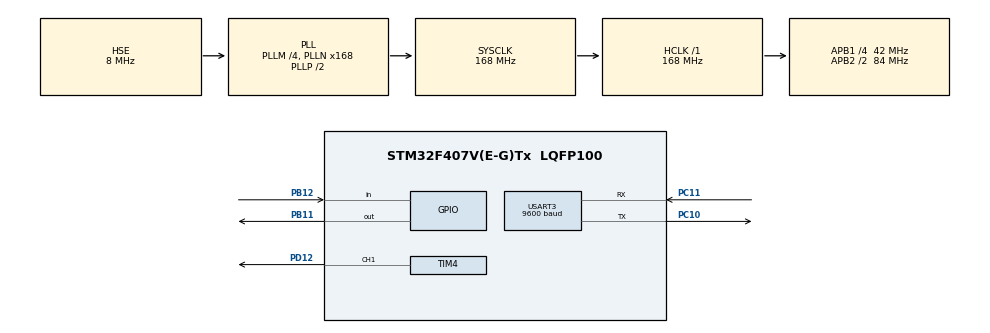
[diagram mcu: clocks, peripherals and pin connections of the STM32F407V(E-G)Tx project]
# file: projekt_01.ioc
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Mcu.Family=STM32F4
Mcu.Name=STM32F407V(E-G)Tx
Mcu.Package=LQFP100
NVIC.PriorityGroup=NVIC_PRIORITYGROUP_4
NVIC.TIM4_IRQn=true\:0\:0\:false\:false\:true\:true
NVIC.USART3_IRQn=true\:0\:0\:false\:false\:true\:true
PB11.GPIO_PuPd=GPIO_NOPULL
PB11.Signal=GPIO_Output
PB12.GPIO_PuPd=GPIO_PULLDOWN
PB12.Signal=GPIO_Input
PC10.Mode=Asynchronous
PC10.Signal=USART3_TX
PC11.Mode=Asynchronous
PC11.Signal=USART3_RX
PD12.Signal=S_TIM4_CH1
PH0-OSC_IN.Mode=HSE-External-Oscillator
PH0-OSC_IN.Signal=RCC_OSC_IN
PH1-OSC_OUT.Mode=HSE-External-Oscillator
PH1-OSC_OUT.Signal=RCC_OSC_OUT
ProjectManager.HeapSize=0x200
ProjectManager.StackSize=0x400
ProjectManager.TargetToolchain=SW4STM32
RCC.48MHZClocksFreq_Value=84000000
RCC.AHBFreq_Value=168000000
RCC.APB1CLKDivider=RCC_HCLK_DIV4
RCC.APB1Freq_Value=42000000
RCC.APB1TimFreq_Value=84000000
RCC.APB2CLKDivider=RCC_HCLK_DIV2
RCC.APB2Freq_Value=84000000
RCC.APB2TimFreq_Value=168000000
RCC.CortexFreq_Value=168000000
RCC.HCLKFreq_Value=168000000
RCC.HSE_VALUE=8000000
RCC.HSI_VALUE=16000000
RCC.LSE_VALUE=32768
RCC.PLLM=4
RCC.PLLN=168
RCC.PLLSourceVirtual=RCC_PLLSOURCE_HSE
RCC.SYSCLKFreq_VALUE=168000000
RCC.SYSCLKSource=RCC_SYSCLKSOURCE_PLLCLK
RCC.VCOOutputFreq_Value=336000000
SH.S_TIM4_CH1.0=TIM4_CH1,PWM Generation1 CH1
TIM4.Channel-PWM\ Generation1\ CH1=TIM_CHANNEL_1
TIM4.Period=999
TIM4.Prescaler=83
USART3.BaudRate=9600
USART3.VirtualMode=VM_ASYNC
VP_TIM4_VS_ClockSourceINT.Mode=Internal
board=custom

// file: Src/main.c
/**
  ******************************************************************************
  * @file           : main.c
  * @brief          : Main program body
  ******************************************************************************
  ** This notice applies to any and all portions of this file
  * that are not between comment pairs USER CODE BEGIN and
  * USER CODE END. Other portions of this file, whether
  * inserted by the user or by software development tools
  * are owned by their respective copyright owners.
  *
  * COPYRIGHT(c) 2019 STMicroelectronics
  *
  * Redistribution and use in source and binary forms, with or without modification,
  * are permitted provided that the following conditions are met:
  *   1. Redistributions of source code must retain the above copyright notice,
  *      this list of conditions and the following disclaimer.
  *   2. Redistributions in binary form must reproduce the above copyright notice,
  *      this list of conditions and the following disclaimer in the documentation
  *      and/or other materials provided with the distribution.
  *   3. Neither the name of STMicroelectronics nor the names of its contributors
  *      may be used to endorse or promote products derived from this software
  *      without specific prior written permission.
  *
  * THIS SOFTWARE IS PROVIDED BY THE COPYRIGHT HOLDERS AND CONTRIBUTORS "AS IS"
  * AND ANY EXPRESS OR IMPLIED WARRANTIES, INCLUDING, BUT NOT LIMITED TO, THE
  * IMPLIED WARRANTIES OF MERCHANTABILITY AND FITNESS FOR A PARTICULAR PURPOSE ARE
  * DISCLAIMED. IN NO EVENT SHALL THE COPYRIGHT HOLDER OR CONTRIBUTORS BE LIABLE
  * FOR ANY DIRECT, INDIRECT, INCIDENTAL, SPECIAL, EXEMPLARY, OR CONSEQUENTIAL
  * DAMAGES (INCLUDING, BUT NOT LIMITED TO, PROCUREMENT OF SUBSTITUTE GOODS OR
  * SERVICES; LOSS OF USE, DATA, OR PROFITS; OR BUSINESS INTERRUPTION) HOWEVER
  * CAUSED AND ON ANY THEORY OF LIABILITY, WHETHER IN CONTRACT, STRICT LIABILITY,
  * OR TORT (INCLUDING NEGLIGENCE OR OTHERWISE) ARISING IN ANY WAY OUT OF THE USE
  * OF THIS SOFTWARE, EVEN IF ADVISED OF THE POSSIBILITY OF SUCH DAMAGE.
  *
  ******************************************************************************
  */
#include "main.h"
#include "stm32f4xx_hal.h"

TIM_HandleTypeDef htim4;

UART_HandleTypeDef huart3;

/* USER CODE BEGIN PV */
/* Private variables ---------------------------------------------------------*/
uint8_t receiveUART[1];
uint16_t sizeReceiveUART = 1;
int on = -1;
uint8_t x;
int value =0, flaga =0;
/* USER CODE END PV */

void SystemClock_Config(void);
static void MX_GPIO_Init(void);
static void MX_USART3_UART_Init(void);
static void MX_TIM4_Init(void);
void HAL_TIM_MspPostInit(TIM_HandleTypeDef *htim);

/* USER CODE BEGIN PFP */
/* Private function prototypes -----------------------------------------------*/
void HAL_UART_RxCpltCallback(UART_HandleTypeDef *huart) {
	if(huart->Instance == USART3){

		x = receiveUART[0];

		if(x == 'O'){
			on = 0;
		}

		else if(x == 'F'){
			on = 1;

		}
		else if(x == 'R'){
			on=2;
		}
		else if(x == 'Z'){
			on=3;
		}
		HAL_UART_Receive_IT(&huart3, receiveUART, sizeReceiveUART);

	}
}

void HAL_TIM_PeriodElapsedCallback(TIM_HandleTypeDef *htim) {
	if (htim->Instance == TIM4) {

		if (value <= 0) {
			flaga = 1;
		}

		if (value >= 1000) {
			flaga = 0;
		}

		switch (flaga) {
		case 0:
			value--;
			break;
		case 1:
			value++;
			break;
		}
		TIM4->CCR1 = value;
	}

}
/* USER CODE END PFP */

int main(void)
{

  /* MCU Configuration----------------------------------------------------------*/

  /* Reset of all peripherals, Initializes the Flash interface and the Systick. */
  HAL_Init();

  /* Configure the system clock */
  SystemClock_Config();

  /* Initialize all configured peripherals */
  MX_GPIO_Init();
  MX_USART3_UART_Init();
  MX_TIM4_Init();
  /* USER CODE BEGIN 2 */
  HAL_UART_Receive_IT(&huart3, receiveUART, sizeReceiveUART);
	HAL_TIM_Base_Start_IT(&htim4);
	HAL_TIM_PWM_Start(&htim4, TIM_CHANNEL_1);
  /* USER CODE END 2 */

  /* Infinite loop */
  /* USER CODE BEGIN WHILE */
  while (1)
  {
	  //HAL_GPIO_WritePin(GPIOB, GPIO_PIN_11, GPIO_PIN_SET);
	  switch(on){
	  case 0:
		  HAL_GPIO_WritePin(GPIOB, GPIO_PIN_11, GPIO_PIN_RESET);
		  break;
	  case 1:
		  HAL_GPIO_WritePin(GPIOB, GPIO_PIN_11, GPIO_PIN_SET);
		  break;
	  case 2:
	  {
		  int odp = HAL_GPIO_ReadPin(GPIOB, GPIO_PIN_12);

		  	  switch(odp){
		  	  case 0:{
		  		  HAL_GPIO_WritePin(GPIOB, GPIO_PIN_11, GPIO_PIN_SET);

		  	  }
		  	  break;
		  	  case 1:{
		  	      HAL_GPIO_WritePin(GPIOB, GPIO_PIN_11, GPIO_PIN_RESET);

		  	  }
		  	  break;
		  	  }
	  }
	  break;
	  case 3:
		  HAL_GPIO_WritePin(GPIOB, GPIO_PIN_12, 0);
	  }

	  /*
	  if(HAL_GPIO_ReadPin(GPIOB, GPIO_PIN_12)==GPIO_PIN_SET){
  	  HAL_GPIO_WritePin(GPIOB, GPIO_PIN_11, GPIO_PIN_SET);
  	  HAL_Delay(100);
	  }
	  if(HAL_GPIO_ReadPin(GPIOB, GPIO_PIN_12)== GPIO_PIN_RESET){
      HAL_GPIO_WritePin(GPIOB, GPIO_PIN_11, GPIO_PIN_RESET);
 	  HAL_Delay(100);
	  }
*/

  /* USER CODE END WHILE */

  }

}

void SystemClock_Config(void)
{

  RCC_OscInitTypeDef RCC_OscInitStruct;
  RCC_ClkInitTypeDef RCC_ClkInitStruct;

    /**Configure the main internal regulator output voltage
    */
  __HAL_RCC_PWR_CLK_ENABLE();

  __HAL_PWR_VOLTAGESCALING_CONFIG(PWR_REGULATOR_VOLTAGE_SCALE1);

    /**Initializes the CPU, AHB and APB busses clocks
    */
  RCC_OscInitStruct.OscillatorType = RCC_OSCILLATORTYPE_HSE;
  RCC_OscInitStruct.HSEState = RCC_HSE_ON;
  RCC_OscInitStruct.PLL.PLLState = RCC_PLL_ON;
  RCC_OscInitStruct.PLL.PLLSource = RCC_PLLSOURCE_HSE;
  RCC_OscInitStruct.PLL.PLLM = 4;
  RCC_OscInitStruct.PLL.PLLN = 168;
  RCC_OscInitStruct.PLL.PLLP = RCC_PLLP_DIV2;
  RCC_OscInitStruct.PLL.PLLQ = 4;
  if (HAL_RCC_OscConfig(&RCC_OscInitStruct) != HAL_OK)
  {
    _Error_Handler(__FILE__, __LINE__);
  }

    /**Initializes the CPU, AHB and APB busses clocks
    */
  RCC_ClkInitStruct.ClockType = RCC_CLOCKTYPE_HCLK|RCC_CLOCKTYPE_SYSCLK
                              |RCC_CLOCKTYPE_PCLK1|RCC_CLOCKTYPE_PCLK2;
  RCC_ClkInitStruct.SYSCLKSource = RCC_SYSCLKSOURCE_PLLCLK;
  RCC_ClkInitStruct.AHBCLKDivider = RCC_SYSCLK_DIV1;
  RCC_ClkInitStruct.APB1CLKDivider = RCC_HCLK_DIV4;
  RCC_ClkInitStruct.APB2CLKDivider = RCC_HCLK_DIV2;

  if (HAL_RCC_ClockConfig(&RCC_ClkInitStruct, FLASH_LATENCY_5) != HAL_OK)
  {
    _Error_Handler(__FILE__, __LINE__);
  }

    /**Configure the Systick interrupt time
    */
  HAL_SYSTICK_Config(HAL_RCC_GetHCLKFreq()/1000);

    /**Configure the Systick
    */
  HAL_SYSTICK_CLKSourceConfig(SYSTICK_CLKSOURCE_HCLK);

  /* SysTick_IRQn interrupt configuration */
  HAL_NVIC_SetPriority(SysTick_IRQn, 0, 0);
}

/* TIM4 init function */
static void MX_TIM4_Init(void)
{

  TIM_ClockConfigTypeDef sClockSourceConfig;
  TIM_MasterConfigTypeDef sMasterConfig;
  TIM_OC_InitTypeDef sConfigOC;

  htim4.Instance = TIM4;
  htim4.Init.Prescaler = 83;
  htim4.Init.CounterMode = TIM_COUNTERMODE_UP;
  htim4.Init.Period = 999;
  htim4.Init.ClockDivision = TIM_CLOCKDIVISION_DIV1;
  if (HAL_TIM_Base_Init(&htim4) != HAL_OK)
  {
    _Error_Handler(__FILE__, __LINE__);
  }

  sClockSourceConfig.ClockSource = TIM_CLOCKSOURCE_INTERNAL;
  if (HAL_TIM_ConfigClockSource(&htim4, &sClockSourceConfig) != HAL_OK)
  {
    _Error_Handler(__FILE__, __LINE__);
  }

  if (HAL_TIM_PWM_Init(&htim4) != HAL_OK)
  {
    _Error_Handler(__FILE__, __LINE__);
  }

  sMasterConfig.MasterOutputTrigger = TIM_TRGO_RESET;
  sMasterConfig.MasterSlaveMode = TIM_MASTERSLAVEMODE_DISABLE;
  if (HAL_TIMEx_MasterConfigSynchronization(&htim4, &sMasterConfig) != HAL_OK)
  {
    _Error_Handler(__FILE__, __LINE__);
  }

  sConfigOC.OCMode = TIM_OCMODE_PWM1;
  sConfigOC.Pulse = 0;
  sConfigOC.OCPolarity = TIM_OCPOLARITY_HIGH;
  sConfigOC.OCFastMode = TIM_OCFAST_DISABLE;
  if (HAL_TIM_PWM_ConfigChannel(&htim4, &sConfigOC, TIM_CHANNEL_1) != HAL_OK)
  {
    _Error_Handler(__FILE__, __LINE__);
  }

  HAL_TIM_MspPostInit(&htim4);

}

/* USART3 init function */
static void MX_USART3_UART_Init(void)
{

  huart3.Instance = USART3;
  huart3.Init.BaudRate = 9600;
  huart3.Init.WordLength = UART_WORDLENGTH_8B;
  huart3.Init.StopBits = UART_STOPBITS_1;
  huart3.Init.Parity = UART_PARITY_NONE;
  huart3.Init.Mode = UART_MODE_TX_RX;
  huart3.Init.HwFlowCtl = UART_HWCONTROL_NONE;
  huart3.Init.OverSampling = UART_OVERSAMPLING_16;
  if (HAL_UART_Init(&huart3) != HAL_OK)
  {
    _Error_Handler(__FILE__, __LINE__);
  }

}

/** Configure pins as
        * Analog
        * Input
        * Output
        * EVENT_OUT
        * EXTI
*/
static void MX_GPIO_Init(void)
{

  GPIO_InitTypeDef GPIO_InitStruct;

  /* GPIO Ports Clock Enable */
  __HAL_RCC_GPIOH_CLK_ENABLE();
  __HAL_RCC_GPIOB_CLK_ENABLE();
  __HAL_RCC_GPIOD_CLK_ENABLE();
  __HAL_RCC_GPIOC_CLK_ENABLE();

  /*Configure GPIO pin Output Level */
  HAL_GPIO_WritePin(GPIOB, GPIO_PIN_11, GPIO_PIN_RESET);

  /*Configure GPIO pin : PB11 */
  GPIO_InitStruct.Pin = GPIO_PIN_11;
  GPIO_InitStruct.Mode = GPIO_MODE_OUTPUT_PP;
  GPIO_InitStruct.Pull = GPIO_NOPULL;
  GPIO_InitStruct.Speed = GPIO_SPEED_FREQ_LOW;
  HAL_GPIO_Init(GPIOB, &GPIO_InitStruct);

  /*Configure GPIO pin : PB12 */
  GPIO_InitStruct.Pin = GPIO_PIN_12;
  GPIO_InitStruct.Mode = GPIO_MODE_INPUT;
  GPIO_InitStruct.Pull = GPIO_PULLDOWN;
  HAL_GPIO_Init(GPIOB, &GPIO_InitStruct);

}

void _Error_Handler(char *file, int line)
{
  while(1)
  {
  }
}

/************************ (C) COPYRIGHT STMicroelectronics *****END OF FILE****/
